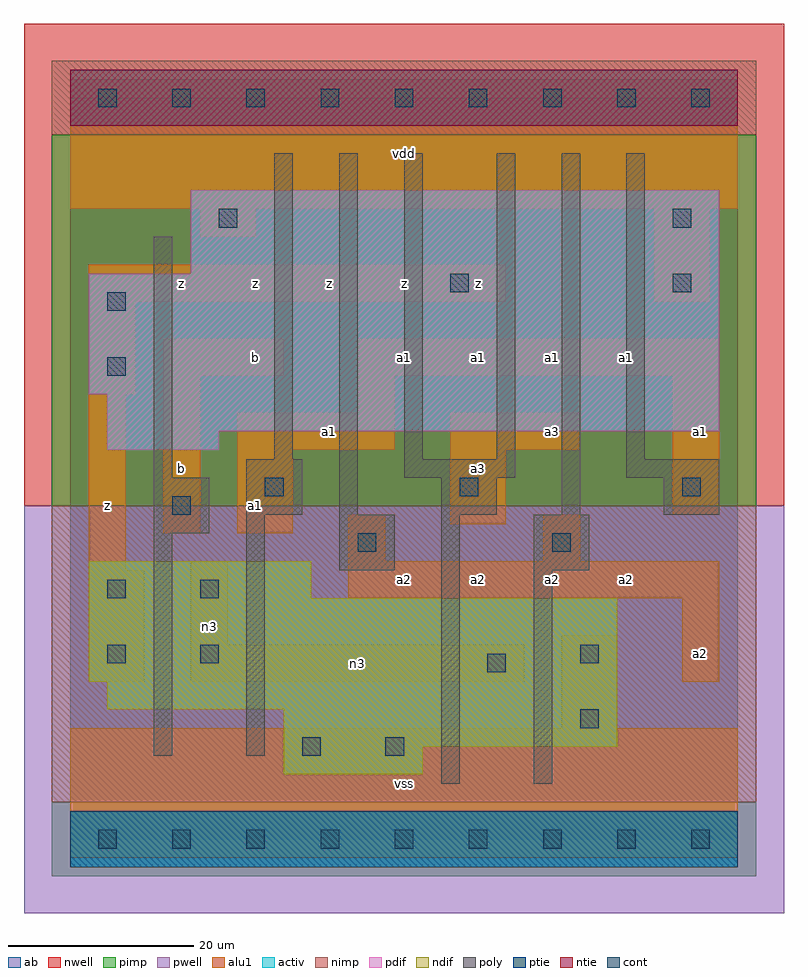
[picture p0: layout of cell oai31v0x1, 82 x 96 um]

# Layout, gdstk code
import gdstk
lib = gdstk.Library(unit=1e-6, precision=1e-09)
def R(c, l, rs):  # rectangles x0, y0, x1, y1
    for r in rs: c.add(gdstk.rectangle(r[:2], r[2:], *l))
def A(c, l, x, y, w, h, nx, ny, dx, dy):  # array of equal rectangles
    R(c, l, [(x+i*dx, y+j*dy, x+i*dx+w, y+j*dy+h) for i in range(nx) for j in range(ny)])
ndif = (3, 0)
pdif = (4, 0)
ntie = (5, 0)
ptie = (6, 0)
cont = (25, 0)
pwell = (41, 0)
nwell = (42, 0)
activ = (43, 0)
pimp = (44, 0)
nimp = (45, 0)
poly = (46, 0)
alu1 = (49, 0)
ab = (63, 0)

oai31v0x1 = lib.new_cell('oai31v0x1')
R(oai31v0x1, ndif, [(23,7,38,10), (23,10,59,14), (4,14,59,17), (2,17,59,26), (2,26,26,30)])
R(oai31v0x1, pdif, [(4,42,16,44), (4,44,70,48), (2,48,70,61), (13,61,70,70)])
R(oai31v0x1, ntie, [(0,77,72,83)])
R(oai31v0x1, ptie, [(0,-3,72,3)])
A(oai31v0x1, cont, 3, -1, 2, 2, 9, 2, 8, 80)
R(oai31v0x1, cont, [(25,9,27,11), (34,9,36,11), (55,12,57,14), (45,18,47,20), (4,19,6,21), (14,19,16,21), (55,19,57,21), (4,26,6,28), (14,26,16,28), (31,31,33,33), (52,31,54,33), (11,35,13,37), (21,37,23,39), (42,37,44,39), (66,37,68,39), (4,50,6,52), (4,57,6,59), (41,59,43,61), (65,59,67,61), (16,66,18,68), (65,66,67,68)])
R(oai31v0x1, pwell, [(-5,-8,77,36)])
R(oai31v0x1, nwell, [(-5,36,77,88)])
R(oai31v0x1, activ, [(0,-3,72,3), (23,7,38,10), (23,10,59,14), (4,14,59,17), (2,17,59,26), (2,26,26,30), (4,42,16,44), (4,44,70,48), (2,48,70,61), (13,61,70,70), (0,77,72,83)])
R(oai31v0x1, pimp, [(-2,-4,74,4), (-2,36,74,76)])
R(oai31v0x1, nimp, [(-2,4,74,36), (-2,76,74,84)])
R(oai31v0x1, poly, [(40,6,42,35), (50,6,52,29), (9,9,11,33), (19,9,21,35), (29,29,35,35), (50,29,56,35), (9,33,15,39), (19,35,25,41), (29,35,31,74), (40,35,46,39), (53,35,55,74), (64,35,70,39), (9,39,11,65), (36,39,48,41), (60,39,70,41), (22,41,24,74), (36,41,38,74), (46,41,48,74), (60,41,62,74)])
R(oai31v0x1, alu1, [(0,-2,72,12), (53,12,59,22), (2,17,8,29), (13,17,49,21), (66,17,70,26), (13,21,17,30), (30,26,70,30), (2,29,6,48), (30,30,34,35), (51,30,55,35), (10,33,14,50), (18,33,24,42), (41,34,47,42), (65,35,70,50), (18,42,35,46), (41,42,55,46), (31,46,35,50), (2,48,7,58), (10,50,23,54), (31,50,70,54), (2,58,47,62), (63,58,69,68), (14,65,20,68), (0,68,72,82)])
R(oai31v0x1, ab, [(0,0,72,80)])
oai31v0x1.add(gdstk.Label('n3', (15,23), layer=49, texttype=0))
oai31v0x1.add(gdstk.Label('n3', (31,19), layer=49, texttype=0))
oai31v0x1.add(gdstk.Label('z', (4,36), layer=49, texttype=0))
oai31v0x1.add(gdstk.Label('b', (12,40), layer=49, texttype=0))
oai31v0x1.add(gdstk.Label('a1', (20,36), layer=49, texttype=0))
oai31v0x1.add(gdstk.Label('b', (20,52), layer=49, texttype=0))
oai31v0x1.add(gdstk.Label('z', (12,60), layer=49, texttype=0))
oai31v0x1.add(gdstk.Label('z', (20,60), layer=49, texttype=0))
oai31v0x1.add(gdstk.Label('vss', (36,6), layer=49, texttype=0))
oai31v0x1.add(gdstk.Label('a2', (36,28), layer=49, texttype=0))
oai31v0x1.add(gdstk.Label('a1', (28,44), layer=49, texttype=0))
oai31v0x1.add(gdstk.Label('a1', (36,52), layer=49, texttype=0))
oai31v0x1.add(gdstk.Label('z', (28,60), layer=49, texttype=0))
oai31v0x1.add(gdstk.Label('z', (36,60), layer=49, texttype=0))
oai31v0x1.add(gdstk.Label('vdd', (36,74), layer=49, texttype=0))
oai31v0x1.add(gdstk.Label('a2', (44,28), layer=49, texttype=0))
oai31v0x1.add(gdstk.Label('a2', (52,28), layer=49, texttype=0))
oai31v0x1.add(gdstk.Label('a3', (44,40), layer=49, texttype=0))
oai31v0x1.add(gdstk.Label('a3', (52,44), layer=49, texttype=0))
oai31v0x1.add(gdstk.Label('a1', (52,52), layer=49, texttype=0))
oai31v0x1.add(gdstk.Label('a1', (44,52), layer=49, texttype=0))
oai31v0x1.add(gdstk.Label('z', (44,60), layer=49, texttype=0))
oai31v0x1.add(gdstk.Label('a2', (60,28), layer=49, texttype=0))
oai31v0x1.add(gdstk.Label('a2', (68,20), layer=49, texttype=0))
oai31v0x1.add(gdstk.Label('a1', (68,44), layer=49, texttype=0))
oai31v0x1.add(gdstk.Label('a1', (60,52), layer=49, texttype=0))

lib.write_gds('oai31v0x1.gds')
